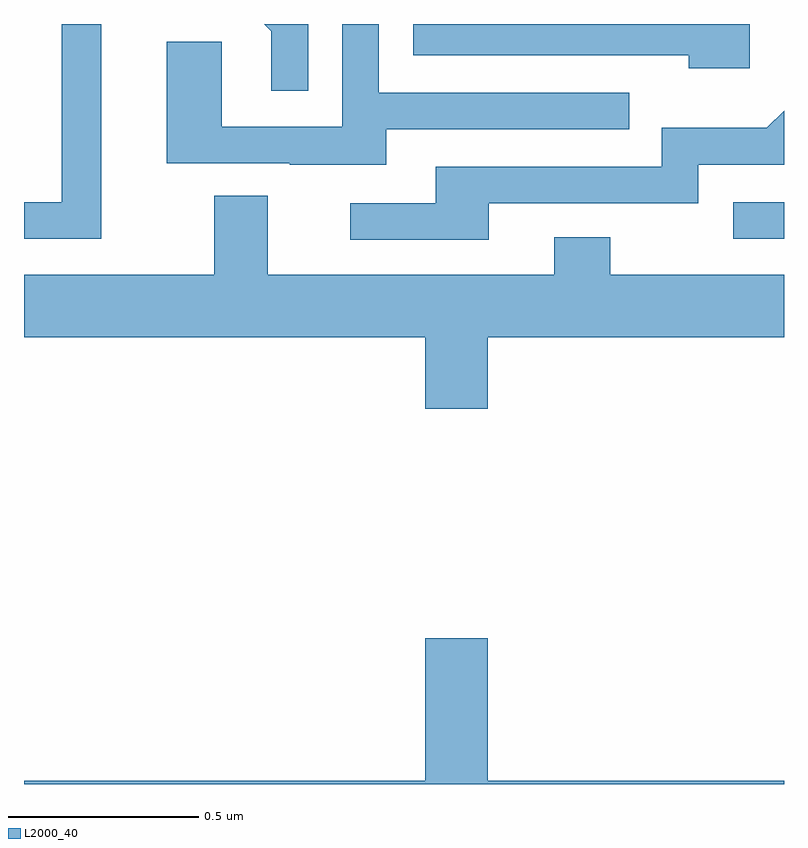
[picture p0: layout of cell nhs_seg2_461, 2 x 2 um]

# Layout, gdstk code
import gdstk
lib = gdstk.Library(unit=1e-6, precision=1e-09)
def R(c, l, rs):  # rectangles x0, y0, x1, y1
    for r in rs: c.add(gdstk.rectangle(r[:2], r[2:], *l))
def P(c, l, *ps):  # polygons
    for p in ps: c.add(gdstk.Polygon(p, *l))
L2000_40 = (2000, 40)

nhs_seg2_461 = lib.new_cell('nhs_seg2_461')
R(nhs_seg2_461, L2000_40, [(117.867,641.235,118,641.331)])
P(nhs_seg2_461, L2000_40, [(117.91,641.8),(117.024,641.8),(117.024,641.718),(117.749,641.718),(117.749,641.684),(117.91,641.684)],
  [(116.953,641.523),(117.593,641.523),(117.593,641.619),(116.934,641.619),(116.934,641.8),(116.838,641.8),(116.838,641.529),(116.52,641.529),(116.52,641.753),(116.375,641.753),(116.375,641.433),(116.699,641.433),(116.699,641.429),(116.953,641.429)],
  [(116.203,641.8),(116.099,641.8),(116.099,641.331),(116,641.331),(116,641.235),(116.203,641.235)],
  [(116.748,641.8),(116.632,641.8),(116.651,641.781),(116.651,641.625),(116.748,641.625)],
  [(117.223,641.328),(117.774,641.328),(117.774,641.43),(118,641.43),(118,641.572),(117.955,641.527),(117.678,641.527),(117.678,641.424),(117.083,641.424),(117.083,641.328),(116.859,641.328),(116.859,641.232),(117.223,641.232)],
  [(117.22,640.976),(118,640.976),(118,641.14),(117.543,641.14),(117.543,641.239),(117.395,641.239),(117.395,641.14),(116.641,641.14),(116.641,641.348),(116.501,641.348),(116.501,641.14),(116,641.14),(116,640.976),(117.056,640.976),(117.056,640.788),(117.22,640.788)],
  [(118,639.808),(117.22,639.808),(117.22,640.183),(117.056,640.183),(117.056,639.808),(116,639.808),(116,639.8),(118,639.8)])

lib.write_gds('nhs_seg2_461.gds')
